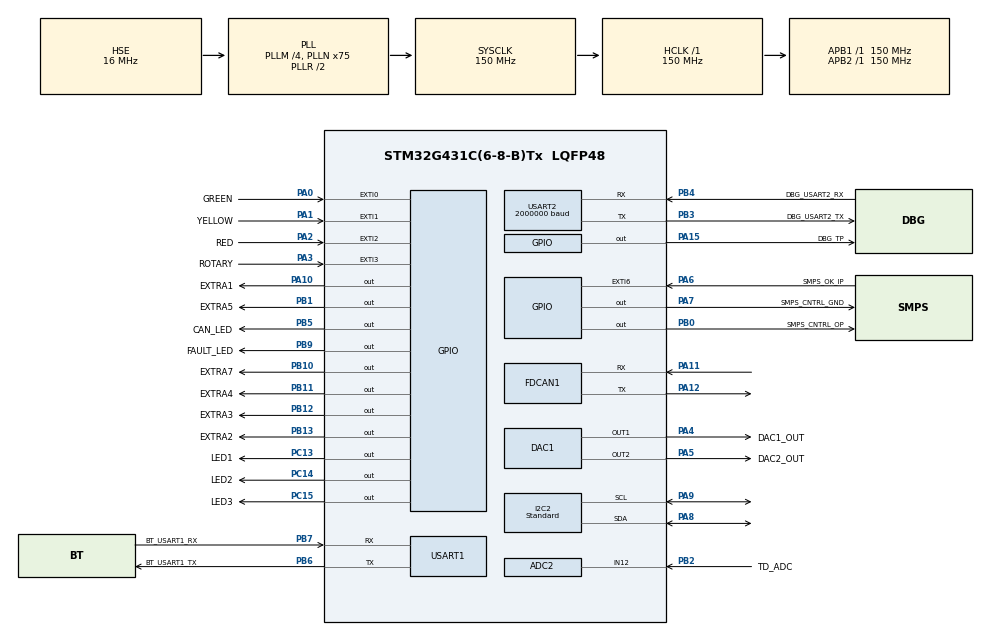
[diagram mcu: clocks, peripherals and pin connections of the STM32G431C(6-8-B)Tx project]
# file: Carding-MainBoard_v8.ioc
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ADC2.Channel-0\#ChannelRegularConversion=ADC_CHANNEL_12
ADC2.NbrOfConversionFlag=1
ADC2.OffsetNumber-0\#ChannelRegularConversion=ADC_OFFSET_NONE
ADC2.Rank-0\#ChannelRegularConversion=1
ADC2.SamplingTime-0\#ChannelRegularConversion=ADC_SAMPLETIME_24CYCLES_5
DAC1.DAC_Channel-DAC_OUT2=DAC_CHANNEL_2
Dma.Request0=USART1_RX
Dma.Request1=USART2_TX
Dma.USART1_RX.0.Direction=DMA_PERIPH_TO_MEMORY
Dma.USART1_RX.0.EventEnable=DISABLE
Dma.USART1_RX.0.Instance=DMA1_Channel1
Dma.USART1_RX.0.MemDataAlignment=DMA_MDATAALIGN_BYTE
Dma.USART1_RX.0.MemInc=DMA_MINC_ENABLE
Dma.USART1_RX.0.Mode=DMA_NORMAL
Dma.USART1_RX.0.PeriphDataAlignment=DMA_PDATAALIGN_BYTE
Dma.USART1_RX.0.PeriphInc=DMA_PINC_DISABLE
Dma.USART1_RX.0.Polarity=HAL_DMAMUX_REQ_GEN_RISING
Dma.USART1_RX.0.Priority=DMA_PRIORITY_LOW
Dma.USART1_RX.0.RequestNumber=1
Dma.USART1_RX.0.SignalID=NONE
Dma.USART1_RX.0.SyncEnable=DISABLE
Dma.USART1_RX.0.SyncPolarity=HAL_DMAMUX_SYNC_NO_EVENT
Dma.USART1_RX.0.SyncRequestNumber=1
Dma.USART1_RX.0.SyncSignalID=NONE
Dma.USART2_TX.1.Direction=DMA_MEMORY_TO_PERIPH
Dma.USART2_TX.1.EventEnable=DISABLE
Dma.USART2_TX.1.Instance=DMA1_Channel2
Dma.USART2_TX.1.MemDataAlignment=DMA_MDATAALIGN_BYTE
Dma.USART2_TX.1.MemInc=DMA_MINC_ENABLE
Dma.USART2_TX.1.Mode=DMA_NORMAL
Dma.USART2_TX.1.PeriphDataAlignment=DMA_PDATAALIGN_BYTE
Dma.USART2_TX.1.PeriphInc=DMA_PINC_DISABLE
Dma.USART2_TX.1.Polarity=HAL_DMAMUX_REQ_GEN_RISING
Dma.USART2_TX.1.Priority=DMA_PRIORITY_LOW
Dma.USART2_TX.1.RequestNumber=1
Dma.USART2_TX.1.SignalID=NONE
Dma.USART2_TX.1.SyncEnable=DISABLE
Dma.USART2_TX.1.SyncPolarity=HAL_DMAMUX_SYNC_NO_EVENT
Dma.USART2_TX.1.SyncRequestNumber=1
Dma.USART2_TX.1.SyncSignalID=NONE
FDCAN1.AutoRetransmission=ENABLE
FDCAN1.CalculateBaudRateNominal=499999
FDCAN1.CalculateTimeBitNominal=2000
FDCAN1.CalculateTimeQuantumNominal=66.66666666666667
FDCAN1.ClockDivider=FDCAN_CLOCK_DIV10
FDCAN1.DataSyncJumpWidth=3
FDCAN1.DataTimeSeg1=11
FDCAN1.DataTimeSeg2=3
FDCAN1.ExtFiltersNbr=1
FDCAN1.FrameFormat=FDCAN_FRAME_FD_BRS
FDCAN1.NominalPrescaler=1
FDCAN1.NominalSyncJumpWidth=6
FDCAN1.NominalTimeSeg1=23
FDCAN1.NominalTimeSeg2=6
FDCAN1.ProtocolException=DISABLE
FDCAN1.StdFiltersNbr=1
FDCAN1.TransmitPause=ENABLE
I2C2.Analog_Filter=I2C_ANALOGFILTER_DISABLE
I2C2.I2C_Fall_Time=200
I2C2.I2C_Rise_Time=300
I2C2.I2C_Speed_Mode=I2C_Standard
I2C2.NoStretchMode=I2C_NOSTRETCH_DISABLE
I2C2.Speed=50
I2C2.Timing=0x50D4E6FF
Mcu.Family=STM32G4
Mcu.Name=STM32G431C(6-8-B)Tx
Mcu.Package=LQFP48
NVIC.DMA1_Channel1_IRQn=true\:3\:0\:true\:false\:true\:false\:true\:true
NVIC.DMA1_Channel2_IRQn=true\:3\:0\:true\:false\:true\:false\:true\:true
NVIC.EXTI0_IRQn=true\:2\:0\:true\:false\:true\:true\:true\:true
NVIC.EXTI1_IRQn=true\:2\:0\:true\:false\:true\:true\:true\:true
NVIC.EXTI2_IRQn=true\:2\:0\:true\:false\:true\:true\:true\:true
NVIC.EXTI3_IRQn=true\:2\:0\:true\:false\:true\:true\:true\:true
NVIC.EXTI9_5_IRQn=true\:2\:0\:true\:false\:true\:true\:true\:true
NVIC.FDCAN1_IT0_IRQn=true\:0\:0\:false\:false\:true\:true\:true\:true
NVIC.PriorityGroup=NVIC_PRIORITYGROUP_4
NVIC.TIM1_BRK_TIM15_IRQn=true\:0\:0\:false\:false\:true\:true\:true\:true
NVIC.TIM1_TRG_COM_TIM17_IRQn=true\:5\:0\:true\:false\:true\:true\:true\:true
NVIC.TIM1_UP_TIM16_IRQn=true\:1\:0\:true\:false\:true\:true\:true\:true
NVIC.TIM6_DAC_IRQn=true\:0\:0\:false\:false\:true\:true\:true\:true
NVIC.TIM7_IRQn=true\:0\:0\:false\:false\:true\:true\:true\:true
NVIC.USART1_IRQn=true\:1\:0\:true\:false\:true\:true\:true\:true
NVIC.USART2_IRQn=true\:15\:0\:true\:false\:true\:true\:true\:true
PA0.GPIO_Label=GREEN
PA0.GPIO_ModeDefaultEXTI=GPIO_MODE_IT_RISING_FALLING
PA0.GPIO_PuPd=GPIO_PULLUP
PA0.Signal=GPXTI0
PA1.GPIO_Label=YELLOW
PA1.GPIO_ModeDefaultEXTI=GPIO_MODE_IT_RISING_FALLING
PA1.GPIO_PuPd=GPIO_PULLUP
PA1.Signal=GPXTI1
PA10.GPIO_Label=EXTRA1
PA10.Signal=GPIO_Output
PA11.Mode=FDCAN_Activate
PA11.Signal=FDCAN1_RX
PA12.Mode=FDCAN_Activate
PA12.Signal=FDCAN1_TX
PA13.Mode=Serial_Wire
PA13.Signal=SYS_JTMS-SWDIO
PA14.Mode=Serial_Wire
PA14.Signal=SYS_JTCK-SWCLK
PA15.GPIO_Label=DBG_TP
PA15.Signal=GPIO_Output
PA2.GPIO_Label=RED
PA2.GPIO_ModeDefaultEXTI=GPIO_MODE_IT_RISING_FALLING
PA2.GPIO_PuPd=GPIO_PULLUP
PA2.Signal=GPXTI2
PA3.GPIO_Label=ROTARY
PA3.GPIO_ModeDefaultEXTI=GPIO_MODE_IT_RISING_FALLING
PA3.GPIO_PuPd=GPIO_PULLUP
PA3.Signal=GPXTI3
PA4.GPIO_Label=DAC1_OUT
PA4.Signal=COMP_DAC11_group
PA5.GPIO_Label=DAC2_OUT
PA5.Signal=COMP_DAC12_group
PA6.GPIO_Label=SMPS_OK_IP
PA6.GPIO_ModeDefaultEXTI=GPIO_MODE_IT_RISING_FALLING
PA6.Signal=GPXTI6
PA7.GPIO_Label=SMPS_CNTRL_GND
PA7.Signal=GPIO_Output
PA8.Mode=I2C
PA8.Signal=I2C2_SDA
PA9.Mode=I2C
PA9.Signal=I2C2_SCL
PB0.GPIO_Label=SMPS_CNTRL_OP
PB0.Signal=GPIO_Output
PB1.GPIO_Label=EXTRA5
PB1.Signal=GPIO_Output
PB10.GPIO_Label=EXTRA7
PB10.Signal=GPIO_Output
PB11.GPIO_Label=EXTRA4
PB11.Signal=GPIO_Output
PB12.GPIO_Label=EXTRA3
PB12.Signal=GPIO_Output
PB13.GPIO_Label=EXTRA2
PB13.Signal=GPIO_Output
PB2.GPIO_Label=TD_ADC
PB2.Mode=IN12-Single-Ended
PB2.Signal=ADC2_IN12
PB3.GPIO_Label=DBG_USART2_TX
PB3.Mode=Asynchronous
PB3.Signal=USART2_TX
PB4.GPIO_Label=DBG_USART2_RX
PB4.Mode=Asynchronous
PB4.Signal=USART2_RX
PB5.GPIO_Label=CAN_LED
PB5.Signal=GPIO_Output
PB6.GPIO_Label=BT_USART1_TX
PB6.Mode=Asynchronous
PB6.Signal=USART1_TX
PB7.GPIO_Label=BT_USART1_RX
PB7.Mode=Asynchronous
PB7.Signal=USART1_RX
PB9.GPIO_Label=FAULT_LED
PB9.Signal=GPIO_Output
PC13.GPIO_Label=LED1
PC13.GPIO_ModeDefaultOutputPP=GPIO_MODE_OUTPUT_PP
PC13.GPIO_PuPd=GPIO_NOPULL
PC13.Signal=GPIO_Output
PC14-OSC32_IN.GPIO_Label=LED2
PC14-OSC32_IN.GPIO_ModeDefaultOutputPP=GPIO_MODE_OUTPUT_PP
PC14-OSC32_IN.GPIO_PuPd=GPIO_NOPULL
PC14-OSC32_IN.Signal=GPIO_Output
PC15-OSC32_OUT.GPIO_Label=LED3
PC15-OSC32_OUT.GPIO_ModeDefaultOutputPP=GPIO_MODE_OUTPUT_PP
PC15-OSC32_OUT.GPIO_PuPd=GPIO_NOPULL
PC15-OSC32_OUT.Signal=GPIO_Output
PF0-OSC_IN.Mode=HSE-External-Oscillator
PF0-OSC_IN.Signal=RCC_OSC_IN
PF1-OSC_OUT.Mode=HSE-External-Oscillator
PF1-OSC_OUT.Signal=RCC_OSC_OUT
ProjectManager.HeapSize=0x200
ProjectManager.StackSize=0x400
ProjectManager.TargetToolchain=STM32CubeIDE
RCC.ADC12Freq_Value=150000000
RCC.AHBFreq_Value=150000000
RCC.APB1Freq_Value=150000000
RCC.APB1TimFreq_Value=150000000
RCC.APB2Freq_Value=150000000
RCC.APB2TimFreq_Value=150000000
RCC.CortexFreq_Value=150000000
RCC.EXTERNAL_CLOCK_VALUE=12288000
RCC.HCLKFreq_Value=150000000
RCC.HSE_VALUE=16000000
RCC.HSI48_VALUE=48000000
RCC.HSI_VALUE=16000000
RCC.LSE_VALUE=32768
RCC.PLLM=RCC_PLLM_DIV4
RCC.PLLN=75
RCC.PLLSourceVirtual=RCC_PLLSOURCE_HSE
RCC.SYSCLKFreq_VALUE=150000000
RCC.SYSCLKSource=RCC_SYSCLKSOURCE_PLLCLK
RCC.USBFreq_Value=150000000
RCC.VCOOutputFreq_Value=300000000
SH.COMP_DAC11_group.0=DAC1_OUT1,DAC_OUT1
SH.COMP_DAC12_group.0=DAC1_OUT2,DAC_OUT2
TIM15.PeriodNoDither=24999
TIM15.Prescaler=1499
TIM16.AutoReloadPreload=TIM_AUTORELOAD_PRELOAD_ENABLE
TIM16.Dithering=Disable
TIM16.PeriodNoDither=4999
TIM16.Prescaler=29999
TIM17.AutoReloadPreload=TIM_AUTORELOAD_PRELOAD_ENABLE
TIM17.PeriodNoDither=2999
TIM17.Prescaler=1499
TIM6.PeriodNoDither=49999
TIM6.Prescaler=1499
TIM7.PeriodNoDither=9999
TIM7.Prescaler=1499
USART1.DMADisableonRxErrorParam=ADVFEATURE_DMA_DISABLEONRXERROR
USART1.OverrunDisableParam=ADVFEATURE_OVERRUN_DISABLE
USART1.SwapParam=ADVFEATURE_SWAP_ENABLE
USART1.VirtualMode-Asynchronous=VM_ASYNC
USART2.BaudRate=2000000
USART2.VirtualMode-Asynchronous=VM_ASYNC
VP_TIM15_VS_ClockSourceINT.Mode=Internal
VP_TIM16_VS_ClockSourceINT.Mode=Enable_Timer
VP_TIM17_VS_ClockSourceINT.Mode=Enable_Timer
VP_TIM6_VS_ClockSourceINT.Mode=Enable_Timer
VP_TIM7_VS_ClockSourceINT.Mode=Enable_Timer
board=custom

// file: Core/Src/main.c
/* USER CODE BEGIN Header */
/**
  ******************************************************************************
  * @file           : main.c
  * @brief          : Main program body
  ******************************************************************************
  * @attention
  *
  * Copyright (c) 2022 STMicroelectronics.
  * All rights reserved.
  *
  * This software is licensed under terms that can be found in the LICENSE file
  * in the root directory of this software component.
  * If no LICENSE file comes with this software, it is provided AS-IS.
  *
  ******************************************************************************
  */
/* USER CODE END Header */
#include "main.h"

/* USER CODE BEGIN Includes */
#include "FDCAN.h"
#include "CAN_MotherBoard.h"
#include "Ack.h"

#include "machineSettings.h"
#include "MachineErrors.h"
#include "MotorComms.h"
#include "SysObserver.h"

#include "userButtons.h"
#include "TowerLamp.h"
#include "SMPS.h"
#include "MachineSensors.h"
#include "mcp23017.h"
#include "Eeprom.h"
#include "Log.h"

#include "Struct.h"
#include "StateMachine.h"
#include "CommonConstants.h"

#include "BT_Fns.h"
#include "BT_Machine.h"
#include "BT_Console.h"

#include "MB_LEDs.h"
#include "AC_SSR.h"

#include "../../Drivers/DataRequest/DataRequest.h"
#include "TD_Pot.h"
/* USER CODE END Includes */

/* USER CODE BEGIN PTD */
#define MCP23017_ADDRESS	0x21
/* USER CODE END PTD */

ADC_HandleTypeDef hadc2;

DAC_HandleTypeDef hdac1;

FDCAN_HandleTypeDef hfdcan1;

I2C_HandleTypeDef hi2c2;

TIM_HandleTypeDef htim6;
TIM_HandleTypeDef htim7;
TIM_HandleTypeDef htim15;
TIM_HandleTypeDef htim16;
TIM_HandleTypeDef htim17;

UART_HandleTypeDef huart1;
UART_HandleTypeDef huart2;
DMA_HandleTypeDef hdma_usart1_rx;
DMA_HandleTypeDef hdma_usart2_tx;

/* USER CODE BEGIN PV */
machineSettingsTypeDef msp;
userSettings u;
userSettings uBT; // userSettingsBT
internalSettings I;
CardingMc C;
Sensor ductCardFeed;
Sensor ductAutoFeed;
Sensor tgCoiler;

machineSettingsTypeDef ps; // piecing settings
machineSettingsTypeDef msp_BT;
machineParamsTypeDef mcParams;
MBErrorsTypeDef MBE;
MachineErrorsTypedef ME;

SetupMotor SU[8];
ACKTypeDef ack;

StateTypeDef S;
DiagnosticsTypeDef D;
RunTime_TypeDef R[8];
ExtendedRunTime_TypeDef ER[2];//extended data frame from cylinder inverters

SysObserver SO;
BTRecvMsg_TypeDef BT;
BTConsole BTCmd;

userBtns usrBtns;
MCP23017_HandleTypeDef hmcp;
MCP23017_PortB mcp_portB;
MCP23017_PortB mcp_portB_whichSensor;
MCP23017_PortB mcp_portB_sensorVal;
MCP23017_PortA mcp_portA; // for AC SSR
Log L;
TDP tdp;

DataReq DR;

char BufferRec[150];
char BufferTransmit[150] ;// Buffer for Transmit
char LogBuffer[2048];

/* USER CODE END PV */

void SystemClock_Config(void);
static void MX_GPIO_Init(void);
static void MX_DMA_Init(void);
static void MX_FDCAN1_Init(void);
static void MX_USART1_UART_Init(void);
static void MX_DAC1_Init(void);
static void MX_USART2_UART_Init(void);
static void MX_I2C2_Init(void);
static void MX_TIM17_Init(void);
static void MX_TIM16_Init(void);
static void MX_TIM15_Init(void);
static void MX_TIM7_Init(void);
static void MX_TIM6_Init(void);
static void MX_ADC2_Init(void);

/* USER CODE BEGIN 0 */

uint8_t stopSMPS = 0;
uint8_t timer7Count = 0;

void HAL_TIM_PeriodElapsedCallback(TIM_HandleTypeDef *htim)
{
  UNUSED(htim);
  if(htim==&htim17){	// ACK TIMER - 15ms
	ack.waitingForAckResult = 0;
	if (ack.motorAcksCheck == ack.motorAcksRecvd){
		ack.ackResult = ACK_SUCCESS;
	}else{
		ack.ackResult = ACK_FAIL;
		if (ack.ackChkType == CRITICAL_ACK){
			ME.ErrorFlag = 1;
			ME_addErrors(&ME,ERR_SYSTEM_LEVEL_SOURCE, SYS_ACK_ERROR, ERROR_SOURCE_SYSTEM, ack.ackForWhat); // maybe later find out which ACK failed.
			S.SMPS_switchOff = 1;
		}
	}
	HAL_TIM_Base_Stop_IT(&htim17);
  }

  /*if (htim == &htim16){ // 1 sec timer that checks if the CAN connections are all OK.
	  SO.canOverallStatus = SO_checkCanObservers(&SO);
	  if (SO.canOverallStatus != ALL_CANS_HEALTHY ) {
		  ME.ErrorFlag = 1;
		  ME_addErrors(&ME,ERR_SYSTEM_LEVEL_SOURCE,SYS_CAN_CUT_ERROR, SO.canOverallStatus, 0); // maybe later find out which ACK failed.
		  S.SMPS_switchOff = 1;
		  //stp the timer if you find you have an error.
		  HAL_TIM_Base_Stop_IT(&htim16);
	  }
  }*/

  if(htim==&htim15){
	  // This is meant to send motor run time data to the app when diag is running.
	  // here all motors run only 1 at a time
	  if (D.motorID <= 8){
		  uint8_t packetSize = BT_MC_generateDiagnosticMsg(D.motorID);
		  HAL_UART_Transmit_IT(&huart1,(uint8_t*)BufferTransmit,packetSize);
	  }
  }

  if(htim == &htim7){ //100ms timer for state sending to BT
	  timer7Count ++;
	  if (timer7Count % 5 == 0){
		  S.BT_sendState = 1;
		  S.TD_POT_check = 1;
		  if (S.runMode== RUN_CARDING_SECTION){
			  C.L.currentMtrsRun += C.cardingDelivery_mtrMin/60.0 * 0.5;
		  }
	  }

	  if (timer7Count == 10){
		  S.oneSecTimer++;
		  timer7Count = 0;
		  Toggle_State_LEDs(&S);
		  if(DR.requestSent){
			  DR.timer++;
		  }
		  if (ductCardFeed.ductTimerIncrementBool){
			  ductCardFeed.ductSensorTimer++;
		  }
		  if (ductAutoFeed.ductTimerIncrementBool){
			  ductAutoFeed.ductSensorTimer++;
		  }
	  }
  }
}

void HAL_GPIO_EXTI_Callback(uint16_t GPIO_Pin){
	UNUSED(GPIO_Pin);

	if (GPIO_Pin == SMPS_OK_IP_Pin){
		// if the mother board has turned the SMPS on, but the smps is off, we have a problem!
		S.SMPS_OK_signal = (uint8_t)(HAL_GPIO_ReadPin(SMPS_OK_IP_GPIO_Port, SMPS_OK_IP_Pin));
		if ((S.SMPS_cntrl == SMPS_TURNEDON) && (S.SMPS_OK_signal == SMPS_OFF)){
			ME.ErrorFlag = 1;
			ME_addErrors(&ME,ERR_SYSTEM_LEVEL_SOURCE, SYS_SMPS_ERROR, ERROR_SOURCE_SYSTEM,0); // maybe later find out which ACK failed.
			S.SMPS_switchOff = 1;
		}
	}
	else{
		// for the user input buttons - RED_pin,Green_Pin,Yellow_Pin are falling edge interrupts. Rotary_Pin is both
		 usrBtns.initialState =(uint8_t)(HAL_GPIO_ReadPin(RED_GPIO_Port, GPIO_Pin));
		 if (GPIO_Pin == RED_Pin){
			  usrBtns.redBtn = usrBtns.initialState;
		  }
		  else if (GPIO_Pin == GREEN_Pin){
			  usrBtns.greenBtn = usrBtns.initialState;
		  }
		  else if (GPIO_Pin == YELLOW_Pin){
			  usrBtns.yellowBtn = usrBtns.initialState;
		  }else if (GPIO_Pin == ROTARY_Pin){
			  usrBtns.rotarySwitch = usrBtns.initialState;
		  }else{}
	}
}

void HAL_FDCAN_RxFifo0Callback(FDCAN_HandleTypeDef *hfdcan, uint32_t RxFifo0ITs)
{

  if((RxFifo0ITs & FDCAN_IT_RX_FIFO0_NEW_MESSAGE) != 0)
  {
    /* Retreive Rx messages from RX FIFO0 */
    if (HAL_FDCAN_GetRxMessage(hfdcan, FDCAN_RX_FIFO0, &RxHeader, RxData) == HAL_OK)
    {
    	FDCAN_parseForMotherBoard();
    }
    if (HAL_FDCAN_ActivateNotification(hfdcan, FDCAN_IT_RX_FIFO0_NEW_MESSAGE, 0) != HAL_OK)
    {
      /* Notification Error */
      Error_Handler();
    }
  }
}
/* USER CODE END 0 */

int main(void)
{

  /* MCU Configuration--------------------------------------------------------*/

  /* Reset of all peripherals, Initializes the Flash interface and the Systick. */
  HAL_Init();

  /* Configure the system clock */
  SystemClock_Config();

  /* Initialize all configured peripherals */
  MX_GPIO_Init();
  MX_DMA_Init();
  MX_FDCAN1_Init();
  MX_USART1_UART_Init();
  MX_DAC1_Init();
  MX_USART2_UART_Init();
  MX_I2C2_Init();
  MX_TIM17_Init();
  MX_TIM16_Init();
  MX_TIM15_Init();
  MX_TIM7_Init();
  MX_TIM6_Init();
  MX_ADC2_Init();
  /* USER CODE BEGIN 2 */

  //put all the HW setup first and then do the structs: hygiene!
  FDCAN_TxInit();
  FDCAN_RxFilterInit();

  //get the ADC for the tension draft pot ready
  if(HAL_ADCEx_Calibration_Start(&hadc2, ADC_SINGLE_ENDED) != HAL_OK){
	  Error_Handler();
  }

  //Initialize custom typeDefs
  InitializeState_TypeDef(&S);
  InitializeRunTime_TypeDef();
  InitializeDiagnostic_TypeDef(&D);
  InitializeMotherBoardErrors_TypeDef(&MBE);//Todo : cleanup
  InitializeBTMsg_TypeDef(&BT);
  InitInternalSettings(&I);

  //now setup the Machine Settings
  ReadUserSettingsFromEeprom(&u);
  MBE.EepromLoadValsGood = CheckUserSettings(&u);

  //MBE.EepromLoadValsGood = 0;
  if (MBE.EepromLoadValsGood == 0){
	  LoadDefaultUserSettings(&u);
	  //manualWrite
	  u.delivery_mMin = 10;
	  u.lengthLimit = 100;
	  u.cardCylRPM = 750;
	  u.btrCylRPM = 600;
	  u.pickerCylRPM = 600;
	  u.btrFeedRPM = 10.0f;
	  u.AF_FeedRPM = 7.0f;
	  u.deliveryMtrMin_CardFeed_Ratio=6.66f;
	  MBE.defaults_eepromWriteFailed = WriteUserSettingsIntoEeprom(&u);
  }
  setupCardingMCType(&C,&u);
  ReadySetupCommand_AllMotors(&C);
  tdp.tensionDraft = C.tensionDraft; //initialize the POT

  //set up MCP chip
  mcp23017_init(&hmcp, &hi2c2, MCP23017_ADDRESS);
  mcp23017_setupForMainBoard(&hmcp);
  //set the initial Tower Lamp State
  TowerLamp_SetState(&hmcp, &mcp_portB,BUZZER_OFF,RED_OFF,GREEN_OFF,AMBER_OFF);
  TowerLamp_ApplyState(&hmcp,&mcp_portB);

  //read initial btns states
  UsrBtns_SetInitialStates();

  S.current_state = INITIAL_STATE;
  ChangeState(&S,IDLE_STATE);

  //Setup the Bluetooth device MANUALLY ONLY.
  BTCmd.manual_setup = 1;
  if (BTCmd.manual_setup){
	  BTCmd.manual_setup_result = BT_SetupDevice();
	  if(BTCmd.manual_setup_result != 1){
		 BTCmd.manual_setup_rebootOK = BTConsole_WriteCMD(BTCMD_REBOOT);
	  }
  }

  //at startup set the hysteresis times for each sensor and then set the current state for the sensors and for the duct also
  setupSensorHysteresisTime(&ductCardFeed,I.cardingDuctSensorTopDelay);
  setupSensorDeadTime(&ductCardFeed,I.cardingDuctSensorDeadTime);
  ductCardFeed.currentReading = Sensor_ReadValueDirectly(&hmcp,&mcp_portB_sensorVal,DUCTSENSOR_TOP_CARDFEED);
  ductCardFeed.presentState = ductCardFeed.currentReading ;
  C.D.cardFeed_sensorState = ductCardFeed.presentState;
  C.D.cardFeed_ductState_toApp = DUCT_RESET;

  setupSensorHysteresisTime(&ductAutoFeed,I.AF_ductSensorDelay);
  setupSensorDeadTime(&ductAutoFeed,I.AF_ductSensorDeadTime);
  ductAutoFeed.currentReading = Sensor_ReadValueDirectly(&hmcp,&mcp_portB_sensorVal,DUCTSENSOR_AF);
  ductAutoFeed.presentState = ductAutoFeed.currentReading ;
  C.D.autoFeed_sensorState = ductAutoFeed.presentState;
  C.D.autoFeed_ductState_toApp = DUCT_RESET;

  setupSensorHysteresisTime(&tgCoiler,2);

  //------ Done ---

  //set AC ssr Off
  setSSR_State(AC_SSR_OFF,&hmcp, &mcp_portA);
  S.AC_SSR_On = 0;

  //Interrupts on UART1 connected to the bluetooth
  __HAL_UART_ENABLE_IT(&huart1,UART_IT_IDLE);//interrupt on receive buffer not empty(buffer full)
  __HAL_UART_ENABLE_IT(&huart1,UART_IT_TC );//interrupt on Transmission Complete
  HAL_UART_Receive_DMA(&huart1,(uint8_t *)BufferRec,150);	 // start the receive here.
  __HAL_UART_ENABLE_IT(&huart2,UART_IT_TC );//interrupt on Transmission Complete

  //Start the 100 msec Timer for sending BT state commands
  HAL_TIM_Base_Start_IT(&htim7);
  //Start the 1000 msec Timer for checking if the CAN bus is Ok
  HAL_TIM_Base_Start_IT(&htim16);

  //SMPS - turn on the SMPS, wait a while to see if  short command.
  SMPS_Init();
  HAL_Delay(1000);//contactor takes a long time to turn on.
  S.SMPS_cntrl = SMPS_TURNEDON;

  /* USER CODE END 2 */

  /* Infinite loop */
  /* USER CODE BEGIN WHILE */

  while (1)
  {

	if (S.current_state == IDLE_STATE){
		IdleState();
	}

	if (S.current_state == RUN_STATE){
		RunState();
	}

	if (S.current_state == DEBUG_STATE){
		DebugState();
	}

	if (S.current_state == DIAGNOSTICS_STATE){
		DiagnosticsState();
	}

	if (S.current_state == SETTINGS_STATE){
		SettingsState();
	}

	if (S.current_state == ERROR_STATE){
		ErrorState();
	}

    /* USER CODE END WHILE */

  }
}

void SystemClock_Config(void)
{
  RCC_OscInitTypeDef RCC_OscInitStruct = {0};
  RCC_ClkInitTypeDef RCC_ClkInitStruct = {0};

  /** Configure the main internal regulator output voltage
  */
  HAL_PWREx_ControlVoltageScaling(PWR_REGULATOR_VOLTAGE_SCALE1);

  /** Initializes the RCC Oscillators according to the specified parameters
  * in the RCC_OscInitTypeDef structure.
  */
  RCC_OscInitStruct.OscillatorType = RCC_OSCILLATORTYPE_HSE;
  RCC_OscInitStruct.HSEState = RCC_HSE_ON;
  RCC_OscInitStruct.PLL.PLLState = RCC_PLL_ON;
  RCC_OscInitStruct.PLL.PLLSource = RCC_PLLSOURCE_HSE;
  RCC_OscInitStruct.PLL.PLLM = RCC_PLLM_DIV4;
  RCC_OscInitStruct.PLL.PLLN = 75;
  RCC_OscInitStruct.PLL.PLLP = RCC_PLLP_DIV2;
  RCC_OscInitStruct.PLL.PLLQ = RCC_PLLQ_DIV2;
  RCC_OscInitStruct.PLL.PLLR = RCC_PLLR_DIV2;
  if (HAL_RCC_OscConfig(&RCC_OscInitStruct) != HAL_OK)
  {
    Error_Handler();
  }

  /** Initializes the CPU, AHB and APB buses clocks
  */
  RCC_ClkInitStruct.ClockType = RCC_CLOCKTYPE_HCLK|RCC_CLOCKTYPE_SYSCLK
                              |RCC_CLOCKTYPE_PCLK1|RCC_CLOCKTYPE_PCLK2;
  RCC_ClkInitStruct.SYSCLKSource = RCC_SYSCLKSOURCE_PLLCLK;
  RCC_ClkInitStruct.AHBCLKDivider = RCC_SYSCLK_DIV1;
  RCC_ClkInitStruct.APB1CLKDivider = RCC_HCLK_DIV1;
  RCC_ClkInitStruct.APB2CLKDivider = RCC_HCLK_DIV1;

  if (HAL_RCC_ClockConfig(&RCC_ClkInitStruct, FLASH_LATENCY_4) != HAL_OK)
  {
    Error_Handler();
  }
}

static void MX_ADC2_Init(void)
{

  ADC_ChannelConfTypeDef sConfig = {0};

  /** Common config
  */
  hadc2.Instance = ADC2;
  hadc2.Init.ClockPrescaler = ADC_CLOCK_SYNC_PCLK_DIV4;
  hadc2.Init.Resolution = ADC_RESOLUTION_12B;
  hadc2.Init.DataAlign = ADC_DATAALIGN_RIGHT;
  hadc2.Init.GainCompensation = 0;
  hadc2.Init.ScanConvMode = ADC_SCAN_DISABLE;
  hadc2.Init.EOCSelection = ADC_EOC_SINGLE_CONV;
  hadc2.Init.LowPowerAutoWait = DISABLE;
  hadc2.Init.ContinuousConvMode = DISABLE;
  hadc2.Init.NbrOfConversion = 1;
  hadc2.Init.DiscontinuousConvMode = DISABLE;
  hadc2.Init.ExternalTrigConv = ADC_SOFTWARE_START;
  hadc2.Init.ExternalTrigConvEdge = ADC_EXTERNALTRIGCONVEDGE_NONE;
  hadc2.Init.DMAContinuousRequests = DISABLE;
  hadc2.Init.Overrun = ADC_OVR_DATA_PRESERVED;
  hadc2.Init.OversamplingMode = DISABLE;
  if (HAL_ADC_Init(&hadc2) != HAL_OK)
  {
    Error_Handler();
  }

  /** Configure Regular Channel
  */
  sConfig.Channel = ADC_CHANNEL_12;
  sConfig.Rank = ADC_REGULAR_RANK_1;
  sConfig.SamplingTime = ADC_SAMPLETIME_24CYCLES_5;
  sConfig.SingleDiff = ADC_SINGLE_ENDED;
  sConfig.OffsetNumber = ADC_OFFSET_NONE;
  sConfig.Offset = 0;
  if (HAL_ADC_ConfigChannel(&hadc2, &sConfig) != HAL_OK)
  {
    Error_Handler();
  }

}

static void MX_DAC1_Init(void)
{

  DAC_ChannelConfTypeDef sConfig = {0};

  /** DAC Initialization
  */
  hdac1.Instance = DAC1;
  if (HAL_DAC_Init(&hdac1) != HAL_OK)
  {
    Error_Handler();
  }

  /** DAC channel OUT1 config
  */
  sConfig.DAC_HighFrequency = DAC_HIGH_FREQUENCY_INTERFACE_MODE_AUTOMATIC;
  sConfig.DAC_DMADoubleDataMode = DISABLE;
  sConfig.DAC_SignedFormat = DISABLE;
  sConfig.DAC_SampleAndHold = DAC_SAMPLEANDHOLD_DISABLE;
  sConfig.DAC_Trigger = DAC_TRIGGER_NONE;
  sConfig.DAC_Trigger2 = DAC_TRIGGER_NONE;
  sConfig.DAC_OutputBuffer = DAC_OUTPUTBUFFER_ENABLE;
  sConfig.DAC_ConnectOnChipPeripheral = DAC_CHIPCONNECT_EXTERNAL;
  sConfig.DAC_UserTrimming = DAC_TRIMMING_FACTORY;
  if (HAL_DAC_ConfigChannel(&hdac1, &sConfig, DAC_CHANNEL_1) != HAL_OK)
  {
    Error_Handler();
  }

  /** DAC channel OUT2 config
  */
  if (HAL_DAC_ConfigChannel(&hdac1, &sConfig, DAC_CHANNEL_2) != HAL_OK)
  {
    Error_Handler();
  }

}

static void MX_FDCAN1_Init(void)
{

  hfdcan1.Instance = FDCAN1;
  hfdcan1.Init.ClockDivider = FDCAN_CLOCK_DIV10;
  hfdcan1.Init.FrameFormat = FDCAN_FRAME_FD_BRS;
  hfdcan1.Init.Mode = FDCAN_MODE_NORMAL;
  hfdcan1.Init.AutoRetransmission = ENABLE;
  hfdcan1.Init.TransmitPause = ENABLE;
  hfdcan1.Init.ProtocolException = DISABLE;
  hfdcan1.Init.NominalPrescaler = 1;
  hfdcan1.Init.NominalSyncJumpWidth = 6;
  hfdcan1.Init.NominalTimeSeg1 = 23;
  hfdcan1.Init.NominalTimeSeg2 = 6;
  hfdcan1.Init.DataPrescaler = 1;
  hfdcan1.Init.DataSyncJumpWidth = 3;
  hfdcan1.Init.DataTimeSeg1 = 11;
  hfdcan1.Init.DataTimeSeg2 = 3;
  hfdcan1.Init.StdFiltersNbr = 1;
  hfdcan1.Init.ExtFiltersNbr = 1;
  hfdcan1.Init.TxFifoQueueMode = FDCAN_TX_FIFO_OPERATION;
  if (HAL_FDCAN_Init(&hfdcan1) != HAL_OK)
  {
    Error_Handler();
  }

}

static void MX_I2C2_Init(void)
{

  hi2c2.Instance = I2C2;
  hi2c2.Init.Timing = 0x50D4E6FF;
  hi2c2.Init.OwnAddress1 = 0;
  hi2c2.Init.AddressingMode = I2C_ADDRESSINGMODE_7BIT;
  hi2c2.Init.DualAddressMode = I2C_DUALADDRESS_DISABLE;
  hi2c2.Init.OwnAddress2 = 0;
  hi2c2.Init.OwnAddress2Masks = I2C_OA2_NOMASK;
  hi2c2.Init.GeneralCallMode = I2C_GENERALCALL_DISABLE;
  hi2c2.Init.NoStretchMode = I2C_NOSTRETCH_DISABLE;
  if (HAL_I2C_Init(&hi2c2) != HAL_OK)
  {
    Error_Handler();
  }

  /** Configure Analogue filter
  */
  if (HAL_I2CEx_ConfigAnalogFilter(&hi2c2, I2C_ANALOGFILTER_DISABLE) != HAL_OK)
  {
    Error_Handler();
  }

  /** Configure Digital filter
  */
  if (HAL_I2CEx_ConfigDigitalFilter(&hi2c2, 0) != HAL_OK)
  {
    Error_Handler();
  }

}

static void MX_TIM6_Init(void)
{

  TIM_MasterConfigTypeDef sMasterConfig = {0};

  htim6.Instance = TIM6;
  htim6.Init.Prescaler = 1499;
  htim6.Init.CounterMode = TIM_COUNTERMODE_UP;
  htim6.Init.Period = 49999;
  htim6.Init.AutoReloadPreload = TIM_AUTORELOAD_PRELOAD_DISABLE;
  if (HAL_TIM_Base_Init(&htim6) != HAL_OK)
  {
    Error_Handler();
  }
  sMasterConfig.MasterOutputTrigger = TIM_TRGO_RESET;
  sMasterConfig.MasterSlaveMode = TIM_MASTERSLAVEMODE_DISABLE;
  if (HAL_TIMEx_MasterConfigSynchronization(&htim6, &sMasterConfig) != HAL_OK)
  {
    Error_Handler();
  }

}

static void MX_TIM7_Init(void)
{

  TIM_MasterConfigTypeDef sMasterConfig = {0};

  htim7.Instance = TIM7;
  htim7.Init.Prescaler = 1499;
  htim7.Init.CounterMode = TIM_COUNTERMODE_UP;
  htim7.Init.Period = 9999;
  htim7.Init.AutoReloadPreload = TIM_AUTORELOAD_PRELOAD_DISABLE;
  if (HAL_TIM_Base_Init(&htim7) != HAL_OK)
  {
    Error_Handler();
  }
  sMasterConfig.MasterOutputTrigger = TIM_TRGO_RESET;
  sMasterConfig.MasterSlaveMode = TIM_MASTERSLAVEMODE_DISABLE;
  if (HAL_TIMEx_MasterConfigSynchronization(&htim7, &sMasterConfig) != HAL_OK)
  {
    Error_Handler();
  }

}

static void MX_TIM15_Init(void)
{

  TIM_ClockConfigTypeDef sClockSourceConfig = {0};
  TIM_MasterConfigTypeDef sMasterConfig = {0};

  htim15.Instance = TIM15;
  htim15.Init.Prescaler = 1499;
  htim15.Init.CounterMode = TIM_COUNTERMODE_UP;
  htim15.Init.Period = 24999;
  htim15.Init.ClockDivision = TIM_CLOCKDIVISION_DIV1;
  htim15.Init.RepetitionCounter = 0;
  htim15.Init.AutoReloadPreload = TIM_AUTORELOAD_PRELOAD_DISABLE;
  if (HAL_TIM_Base_Init(&htim15) != HAL_OK)
  {
    Error_Handler();
  }
  sClockSourceConfig.ClockSource = TIM_CLOCKSOURCE_INTERNAL;
  if (HAL_TIM_ConfigClockSource(&htim15, &sClockSourceConfig) != HAL_OK)
  {
    Error_Handler();
  }
  sMasterConfig.MasterOutputTrigger = TIM_TRGO_RESET;
  sMasterConfig.MasterSlaveMode = TIM_MASTERSLAVEMODE_DISABLE;
  if (HAL_TIMEx_MasterConfigSynchronization(&htim15, &sMasterConfig) != HAL_OK)
  {
    Error_Handler();
  }

}

static void MX_TIM16_Init(void)
{

  htim16.Instance = TIM16;
  htim16.Init.Prescaler = 29999;
  htim16.Init.CounterMode = TIM_COUNTERMODE_UP;
  htim16.Init.Period = 4999;
  htim16.Init.ClockDivision = TIM_CLOCKDIVISION_DIV1;
  htim16.Init.RepetitionCounter = 0;
  htim16.Init.AutoReloadPreload = TIM_AUTORELOAD_PRELOAD_ENABLE;
  if (HAL_TIM_Base_Init(&htim16) != HAL_OK)
  {
    Error_Handler();
  }

}

static void MX_TIM17_Init(void)
{

  /* USER CODE BEGIN TIM17_Init 1 */
//2uS timer
  /* USER CODE END TIM17_Init 1 */
  htim17.Instance = TIM17;
  htim17.Init.Prescaler = 1499;
  htim17.Init.CounterMode = TIM_COUNTERMODE_UP;
  htim17.Init.Period = 2999;
  htim17.Init.ClockDivision = TIM_CLOCKDIVISION_DIV1;
  htim17.Init.RepetitionCounter = 0;
  htim17.Init.AutoReloadPreload = TIM_AUTORELOAD_PRELOAD_ENABLE;
  if (HAL_TIM_Base_Init(&htim17) != HAL_OK)
  {
    Error_Handler();
  }

}

static void MX_USART1_UART_Init(void)
{

  huart1.Instance = USART1;
  huart1.Init.BaudRate = 115200;
  huart1.Init.WordLength = UART_WORDLENGTH_8B;
  huart1.Init.StopBits = UART_STOPBITS_1;
  huart1.Init.Parity = UART_PARITY_NONE;
  huart1.Init.Mode = UART_MODE_TX_RX;
  huart1.Init.HwFlowCtl = UART_HWCONTROL_NONE;
  huart1.Init.OverSampling = UART_OVERSAMPLING_16;
  huart1.Init.OneBitSampling = UART_ONE_BIT_SAMPLE_DISABLE;
  huart1.Init.ClockPrescaler = UART_PRESCALER_DIV1;
  huart1.AdvancedInit.AdvFeatureInit = UART_ADVFEATURE_SWAP_INIT|UART_ADVFEATURE_RXOVERRUNDISABLE_INIT
                              |UART_ADVFEATURE_DMADISABLEONERROR_INIT;
  huart1.AdvancedInit.Swap = UART_ADVFEATURE_SWAP_ENABLE;
  huart1.AdvancedInit.OverrunDisable = UART_ADVFEATURE_OVERRUN_DISABLE;
  huart1.AdvancedInit.DMADisableonRxError = UART_ADVFEATURE_DMA_DISABLEONRXERROR;
  if (HAL_UART_Init(&huart1) != HAL_OK)
  {
    Error_Handler();
  }
  if (HAL_UARTEx_SetTxFifoThreshold(&huart1, UART_TXFIFO_THRESHOLD_1_8) != HAL_OK)
  {
    Error_Handler();
  }
  if (HAL_UARTEx_SetRxFifoThreshold(&huart1, UART_RXFIFO_THRESHOLD_1_8) != HAL_OK)
  {
    Error_Handler();
  }
  if (HAL_UARTEx_DisableFifoMode(&huart1) != HAL_OK)
  {
    Error_Handler();
  }

}

static void MX_USART2_UART_Init(void)
{

  huart2.Instance = USART2;
  huart2.Init.BaudRate = 2000000;
  huart2.Init.WordLength = UART_WORDLENGTH_8B;
  huart2.Init.StopBits = UART_STOPBITS_1;
  huart2.Init.Parity = UART_PARITY_NONE;
  huart2.Init.Mode = UART_MODE_TX_RX;
  huart2.Init.HwFlowCtl = UART_HWCONTROL_NONE;
  huart2.Init.OverSampling = UART_OVERSAMPLING_16;
  huart2.Init.OneBitSampling = UART_ONE_BIT_SAMPLE_DISABLE;
  huart2.Init.ClockPrescaler = UART_PRESCALER_DIV1;
  huart2.AdvancedInit.AdvFeatureInit = UART_ADVFEATURE_NO_INIT;
  if (HAL_UART_Init(&huart2) != HAL_OK)
  {
    Error_Handler();
  }
  if (HAL_UARTEx_SetTxFifoThreshold(&huart2, UART_TXFIFO_THRESHOLD_1_8) != HAL_OK)
  {
    Error_Handler();
  }
  if (HAL_UARTEx_SetRxFifoThreshold(&huart2, UART_RXFIFO_THRESHOLD_1_8) != HAL_OK)
  {
    Error_Handler();
  }
  if (HAL_UARTEx_DisableFifoMode(&huart2) != HAL_OK)
  {
    Error_Handler();
  }

}

static void MX_DMA_Init(void)
{

  /* DMA controller clock enable */
  __HAL_RCC_DMAMUX1_CLK_ENABLE();
  __HAL_RCC_DMA1_CLK_ENABLE();

  /* DMA interrupt init */
  /* DMA1_Channel1_IRQn interrupt configuration */
  HAL_NVIC_SetPriority(DMA1_Channel1_IRQn, 3, 0);
  HAL_NVIC_EnableIRQ(DMA1_Channel1_IRQn);
  /* DMA1_Channel2_IRQn interrupt configuration */
  HAL_NVIC_SetPriority(DMA1_Channel2_IRQn, 3, 0);
  HAL_NVIC_EnableIRQ(DMA1_Channel2_IRQn);

}

static void MX_GPIO_Init(void)
{
  GPIO_InitTypeDef GPIO_InitStruct = {0};

  /* GPIO Ports Clock Enable */
  __HAL_RCC_GPIOC_CLK_ENABLE();
  __HAL_RCC_GPIOF_CLK_ENABLE();
  __HAL_RCC_GPIOA_CLK_ENABLE();
  __HAL_RCC_GPIOB_CLK_ENABLE();

  /*Configure GPIO pin Output Level */
  HAL_GPIO_WritePin(GPIOC, LED1_Pin|LED2_Pin|LED3_Pin, GPIO_PIN_RESET);

  /*Configure GPIO pin Output Level */
  HAL_GPIO_WritePin(GPIOA, SMPS_CNTRL_GND_Pin|EXTRA1_Pin|DBG_TP_Pin, GPIO_PIN_RESET);

  /*Configure GPIO pin Output Level */
  HAL_GPIO_WritePin(GPIOB, SMPS_CNTRL_OP_Pin|EXTRA5_Pin|EXTRA7_Pin|EXTRA4_Pin
                          |EXTRA3_Pin|EXTRA2_Pin|CAN_LED_Pin|FAULT_LED_Pin, GPIO_PIN_RESET);

  /*Configure GPIO pins : LED1_Pin LED2_Pin LED3_Pin */
  GPIO_InitStruct.Pin = LED1_Pin|LED2_Pin|LED3_Pin;
  GPIO_InitStruct.Mode = GPIO_MODE_OUTPUT_PP;
  GPIO_InitStruct.Pull = GPIO_NOPULL;
  GPIO_InitStruct.Speed = GPIO_SPEED_FREQ_LOW;
  HAL_GPIO_Init(GPIOC, &GPIO_InitStruct);

  /*Configure GPIO pins : GREEN_Pin YELLOW_Pin RED_Pin ROTARY_Pin */
  GPIO_InitStruct.Pin = GREEN_Pin|YELLOW_Pin|RED_Pin|ROTARY_Pin;
  GPIO_InitStruct.Mode = GPIO_MODE_IT_RISING_FALLING;
  GPIO_InitStruct.Pull = GPIO_PULLUP;
  HAL_GPIO_Init(GPIOA, &GPIO_InitStruct);

  /*Configure GPIO pin : SMPS_OK_IP_Pin */
  GPIO_InitStruct.Pin = SMPS_OK_IP_Pin;
  GPIO_InitStruct.Mode = GPIO_MODE_IT_RISING_FALLING;
  GPIO_InitStruct.Pull = GPIO_NOPULL;
  HAL_GPIO_Init(SMPS_OK_IP_GPIO_Port, &GPIO_InitStruct);

  /*Configure GPIO pins : SMPS_CNTRL_GND_Pin EXTRA1_Pin DBG_TP_Pin */
  GPIO_InitStruct.Pin = SMPS_CNTRL_GND_Pin|EXTRA1_Pin|DBG_TP_Pin;
  GPIO_InitStruct.Mode = GPIO_MODE_OUTPUT_PP;
  GPIO_InitStruct.Pull = GPIO_NOPULL;
  GPIO_InitStruct.Speed = GPIO_SPEED_FREQ_LOW;
  HAL_GPIO_Init(GPIOA, &GPIO_InitStruct);

  /*Configure GPIO pins : SMPS_CNTRL_OP_Pin EXTRA5_Pin EXTRA7_Pin EXTRA4_Pin
                           EXTRA3_Pin EXTRA2_Pin CAN_LED_Pin FAULT_LED_Pin */
  GPIO_InitStruct.Pin = SMPS_CNTRL_OP_Pin|EXTRA5_Pin|EXTRA7_Pin|EXTRA4_Pin
                          |EXTRA3_Pin|EXTRA2_Pin|CAN_LED_Pin|FAULT_LED_Pin;
  GPIO_InitStruct.Mode = GPIO_MODE_OUTPUT_PP;
  GPIO_InitStruct.Pull = GPIO_NOPULL;
  GPIO_InitStruct.Speed = GPIO_SPEED_FREQ_LOW;
  HAL_GPIO_Init(GPIOB, &GPIO_InitStruct);

  /* EXTI interrupt init*/
  HAL_NVIC_SetPriority(EXTI0_IRQn, 2, 0);
  HAL_NVIC_EnableIRQ(EXTI0_IRQn);

  HAL_NVIC_SetPriority(EXTI1_IRQn, 2, 0);
  HAL_NVIC_EnableIRQ(EXTI1_IRQn);

  HAL_NVIC_SetPriority(EXTI2_IRQn, 2, 0);
  HAL_NVIC_EnableIRQ(EXTI2_IRQn);

  HAL_NVIC_SetPriority(EXTI3_IRQn, 2, 0);
  HAL_NVIC_EnableIRQ(EXTI3_IRQn);

  HAL_NVIC_SetPriority(EXTI9_5_IRQn, 2, 0);
  HAL_NVIC_EnableIRQ(EXTI9_5_IRQn);

}

void Error_Handler(void)
{
  /* USER CODE BEGIN Error_Handler_Debug */
	//TODO here send some error Code to the App.
  /* User can add his own implementation to report the HAL error return state */
  __disable_irq();
  while (1)
  {
  }
  /* USER CODE END Error_Handler_Debug */
}
